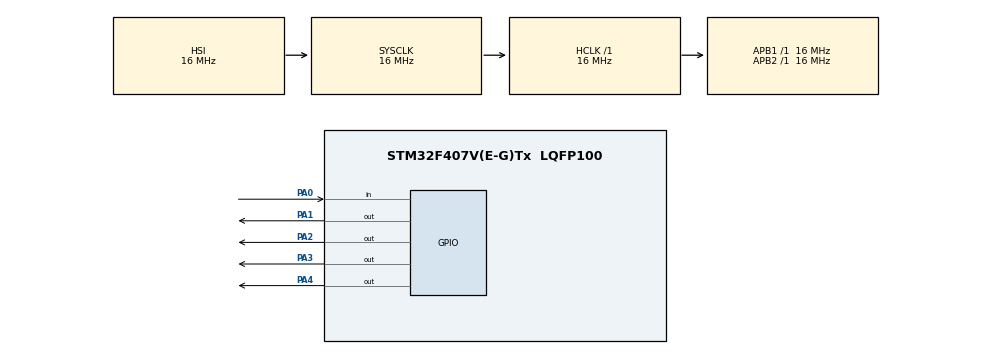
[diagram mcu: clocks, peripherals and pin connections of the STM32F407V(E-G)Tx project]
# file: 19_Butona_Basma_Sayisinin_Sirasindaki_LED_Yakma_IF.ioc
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Mcu.Family=STM32F4
Mcu.Name=STM32F407V(E-G)Tx
Mcu.Package=LQFP100
NVIC.PriorityGroup=NVIC_PRIORITYGROUP_4
PA0-WKUP.GPIO_PuPd=GPIO_PULLUP
PA0-WKUP.Signal=GPIO_Input
PA1.Signal=GPIO_Output
PA2.Signal=GPIO_Output
PA3.Signal=GPIO_Output
PA4.Signal=GPIO_Output
ProjectManager.HeapSize=0x200
ProjectManager.StackSize=0x400
ProjectManager.TargetToolchain=STM32CubeIDE
RCC.AHBFreq_Value=16000000
RCC.APB1Freq_Value=16000000
RCC.APB2Freq_Value=16000000
RCC.CortexFreq_Value=16000000
RCC.HSE_VALUE=25000000
RCC.HSI_VALUE=16000000
RCC.LSE_VALUE=32768
RCC.SYSCLKFreq_VALUE=16000000
RCC.VCOOutputFreq_Value=192000000
board=custom

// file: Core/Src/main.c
/* USER CODE BEGIN Header */
/**
  ******************************************************************************
  * @file           : main.c
  * @brief          : Main program body
  ******************************************************************************
  * @attention
  *
  * Copyright (c) 2025 STMicroelectronics.
  * All rights reserved.
  *
  * This software is licensed under terms that can be found in the LICENSE file
  * in the root directory of this software component.
  * If no LICENSE file comes with this software, it is provided AS-IS.
  *
  ******************************************************************************
  */
/* USER CODE END Header */
#include "main.h"

void SystemClock_Config(void);
static void MX_GPIO_Init(void);

int main(void)
{

  /* MCU Configuration--------------------------------------------------------*/

  /* Reset of all peripherals, Initializes the Flash interface and the Systick. */
  HAL_Init();

  /* Configure the system clock */
  SystemClock_Config();

  /* Initialize all configured peripherals */
  MX_GPIO_Init();
  /* USER CODE BEGIN 2 */

	 int basma_sayisi=1;

  /* USER CODE END 2 */

  /* Infinite loop */
  while (1)
  {

    /* USER CODE BEGIN 3 */

	    if (HAL_GPIO_ReadPin(GPIOA, GPIO_PIN_0) == GPIO_PIN_RESET)
	    {
	    	if (basma_sayisi==1)
	    	{
	    		HAL_GPIO_WritePin(GPIOA, GPIO_PIN_1, GPIO_PIN_SET);

	    		while(HAL_GPIO_ReadPin(GPIOA, GPIO_PIN_0) == GPIO_PIN_RESET)
	    		HAL_Delay(200);

	    		HAL_GPIO_WritePin(GPIOA, GPIO_PIN_1, GPIO_PIN_RESET);
	    	}

	    	if (basma_sayisi==2)
	    	{
	    	    HAL_GPIO_WritePin(GPIOA, GPIO_PIN_2, GPIO_PIN_SET);

	    	    while(HAL_GPIO_ReadPin(GPIOA, GPIO_PIN_0) == GPIO_PIN_RESET)
	    	    HAL_Delay(200);

	    	    HAL_GPIO_WritePin(GPIOA, GPIO_PIN_2, GPIO_PIN_RESET);
	    	}

	    	if (basma_sayisi==3)
	    	{
	    	    HAL_GPIO_WritePin(GPIOA, GPIO_PIN_3, GPIO_PIN_SET);

	    	    while(HAL_GPIO_ReadPin(GPIOA, GPIO_PIN_0) == GPIO_PIN_RESET)
	    	    HAL_Delay(200);

	    	    HAL_GPIO_WritePin(GPIOA, GPIO_PIN_3, GPIO_PIN_RESET);
	    	}

	    	if (basma_sayisi==4)
	    	{
	    	    HAL_GPIO_WritePin(GPIOA, GPIO_PIN_4, GPIO_PIN_SET);

	    	    while(HAL_GPIO_ReadPin(GPIOA, GPIO_PIN_0) == GPIO_PIN_RESET)
	    	    HAL_Delay(200);

	    	    HAL_GPIO_WritePin(GPIOA, GPIO_PIN_4, GPIO_PIN_RESET);

	    	    basma_sayisi=0;
	    	}
	    	basma_sayisi ++;
	    }

  }
  /* USER CODE END 3 */
}

void SystemClock_Config(void)
{
  RCC_OscInitTypeDef RCC_OscInitStruct = {0};
  RCC_ClkInitTypeDef RCC_ClkInitStruct = {0};

  /** Configure the main internal regulator output voltage
  */
  __HAL_RCC_PWR_CLK_ENABLE();
  __HAL_PWR_VOLTAGESCALING_CONFIG(PWR_REGULATOR_VOLTAGE_SCALE1);

  /** Initializes the RCC Oscillators according to the specified parameters
  * in the RCC_OscInitTypeDef structure.
  */
  RCC_OscInitStruct.OscillatorType = RCC_OSCILLATORTYPE_HSI;
  RCC_OscInitStruct.HSIState = RCC_HSI_ON;
  RCC_OscInitStruct.HSICalibrationValue = RCC_HSICALIBRATION_DEFAULT;
  RCC_OscInitStruct.PLL.PLLState = RCC_PLL_NONE;
  if (HAL_RCC_OscConfig(&RCC_OscInitStruct) != HAL_OK)
  {
    Error_Handler();
  }

  /** Initializes the CPU, AHB and APB buses clocks
  */
  RCC_ClkInitStruct.ClockType = RCC_CLOCKTYPE_HCLK|RCC_CLOCKTYPE_SYSCLK
                              |RCC_CLOCKTYPE_PCLK1|RCC_CLOCKTYPE_PCLK2;
  RCC_ClkInitStruct.SYSCLKSource = RCC_SYSCLKSOURCE_HSI;
  RCC_ClkInitStruct.AHBCLKDivider = RCC_SYSCLK_DIV1;
  RCC_ClkInitStruct.APB1CLKDivider = RCC_HCLK_DIV1;
  RCC_ClkInitStruct.APB2CLKDivider = RCC_HCLK_DIV1;

  if (HAL_RCC_ClockConfig(&RCC_ClkInitStruct, FLASH_LATENCY_0) != HAL_OK)
  {
    Error_Handler();
  }
}

static void MX_GPIO_Init(void)
{
  GPIO_InitTypeDef GPIO_InitStruct = {0};

  /* GPIO Ports Clock Enable */
  __HAL_RCC_GPIOA_CLK_ENABLE();

  /*Configure GPIO pin Output Level */
  HAL_GPIO_WritePin(GPIOA, GPIO_PIN_1|GPIO_PIN_2|GPIO_PIN_3|GPIO_PIN_4, GPIO_PIN_RESET);

  /*Configure GPIO pin : PA0 */
  GPIO_InitStruct.Pin = GPIO_PIN_0;
  GPIO_InitStruct.Mode = GPIO_MODE_INPUT;
  GPIO_InitStruct.Pull = GPIO_PULLUP;
  HAL_GPIO_Init(GPIOA, &GPIO_InitStruct);

  /*Configure GPIO pins : PA1 PA2 PA3 PA4 */
  GPIO_InitStruct.Pin = GPIO_PIN_1|GPIO_PIN_2|GPIO_PIN_3|GPIO_PIN_4;
  GPIO_InitStruct.Mode = GPIO_MODE_OUTPUT_PP;
  GPIO_InitStruct.Pull = GPIO_NOPULL;
  GPIO_InitStruct.Speed = GPIO_SPEED_FREQ_LOW;
  HAL_GPIO_Init(GPIOA, &GPIO_InitStruct);

}

void Error_Handler(void)
{
  __disable_irq();
  while (1)
  {
  }
}
